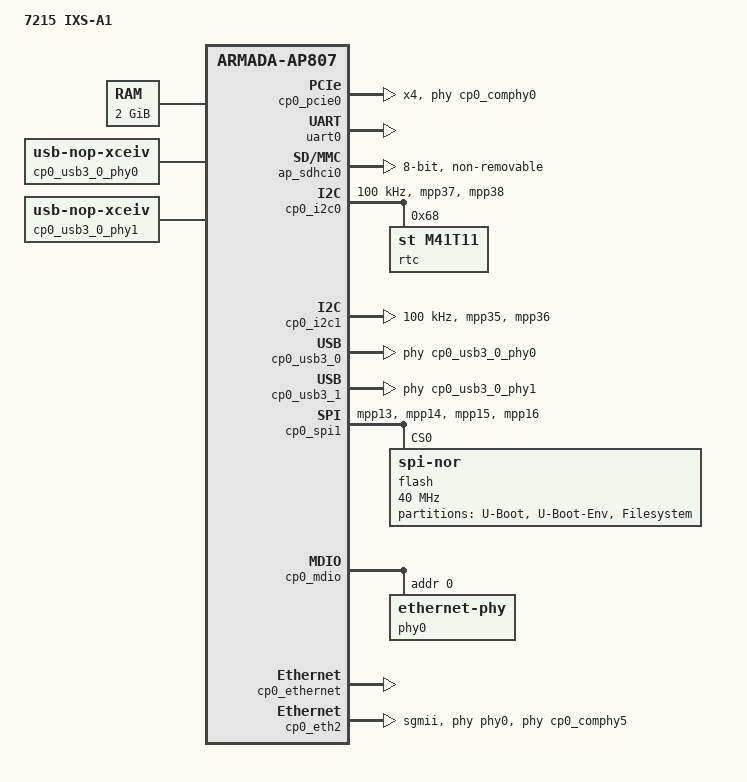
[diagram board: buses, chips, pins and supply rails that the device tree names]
// SPDX-License-Identifier: GPL-2.0+
/*
 * Copyright (C) 2024 Nokia
 * Copyright (C) 2020 Marvell International Ltd.
 */

#include "cn9130.dtsi" /* include SoC device tree */

#include <dt-bindings/gpio/gpio.h>

/ {
	#address-cells = <0x02>;
	#size-cells = <0x02>;
	model = "7215 IXS-A1";
	compatible = "marvell,cn9130\0marvell,armada-ap807-quad\0marvell,armada-ap807";

	aliases {
		i2c0 = &cp0_i2c0;
		ethernet0 = &cp0_eth0;
		ethernet1 = &cp0_eth1;
		ethernet2 = &cp0_eth2;
		gpio1 = &cp0_gpio1;
		gpio2 = &cp0_gpio2;
	};

	memory@0 {
		device_type = "memory";
		reg = <0x0 0x0 0x0 0x80000000>;
	};

	reserved-memory {
		#address-cells = <0x02>;
		#size-cells = <0x02>;
		ranges;

		/* keep psci-area: 04000000 size 0x00200000 */
		/* keep       tee: 04400000 size 0x01000000 */
		buf1: buffer@6000000 {
			compatible = "shared-dma-pool";
			reg = <0x0 0x06000000 0x0 0x02000000>;
			no-map;
		};
	};

	mv_dma {
		compatible = "marvell,mv_dma";
		memory-region = <&buf1>;
		status = "okay";
	};

	cp0_usb3_0_phy0: cp0_usb3_phy0 {
		compatible = "usb-nop-xceiv";
	};

	cp0_usb3_0_phy1: cp0_usb3_phy1 {
		compatible = "usb-nop-xceiv";
	};
};

&cp0_syscon0 {
	cp0_pinctrl: pinctrl {
		compatible = "marvell,cp115-standalone-pinctrl";

		cp0_i2c0_pins: cp0-i2c-pins-0 {
			marvell,pins = "mpp37", "mpp38";
			marvell,function = "i2c0";
		};
		cp0_i2c1_pins: cp0-i2c-pins-1 {
			marvell,pins = "mpp35", "mpp36";
			marvell,function = "i2c1";
		};
		cp0_spi0_pins: cp0-spi-pins-0 {
			marvell,pins = "mpp13", "mpp14", "mpp15", "mpp16";
			marvell,function = "spi1";
		};
	};
};

&cp0_gpio1 {
	status = "okay";
};

&cp0_gpio2 {
	status = "okay";
};

&cp0_pcie0 {
	status = "okay";
	num-lanes = <4>;
	num-viewport = <8>;
	/* Generic PHY, providing serdes lanes */
	phys = <&cp0_comphy0 0
		&cp0_comphy1 0
		&cp0_comphy2 0
		&cp0_comphy3 0>;
	iommu-map =
		<0x0   &smmu 0x480 0x20>,
		<0x100 &smmu 0x4a0 0x20>,
		<0x200 &smmu 0x4c0 0x20>;
	iommu-map-mask = <0x031f>;
};

&uart0 {
	status = "okay";
};

/* on-board eMMC U6 */
&ap_sdhci0 {
	pinctrl-names = "default";
	bus-width = <8>;
	status = "okay";
	non-removable;
	mmc-ddr-1_8v;
	mmc-hs200-1_8v;
};

/*Delete nodes that are not available*/
/delete-node/ &cp0_rtc;
/delete-node/ &cp0_sdhci0;
/delete-node/ &cp0_crypto;

&cp0_i2c0 {
	pinctrl-names = "default";
	pinctrl-0 = <&cp0_i2c0_pins>;
	status = "okay";
	clock-frequency = <100000>;
	rtc@68 {
		compatible = "st,m41t11";
		reg = <0x68>;
	};
};

&cp0_i2c1 {
	pinctrl-names = "default";
	pinctrl-0 = <&cp0_i2c1_pins>;
	clock-frequency = <100000>;
	status = "okay";
};

&cp0_usb3_0 {
	status = "okay";
	usb-phy = <&cp0_usb3_0_phy0>;
	phy-names = "usb";
};

&cp0_usb3_1 {
	status = "okay";
	usb-phy = <&cp0_usb3_0_phy1>;
	phy-names = "usb";
};

&cp0_spi1 {
	pinctrl-names = "default";
	pinctrl-0 = <&cp0_spi0_pins>;
	reg = <0x700680 0x50>,		/* control */
	      <0x2000000 0x1000000>;	/* CS0 */
	status = "okay";

	flash@0 {
		#address-cells = <0x1>;
		#size-cells = <0x1>;
		compatible = "jedec,spi-nor";
		reg = <0x0>;
		/* On-board MUX does not allow higher frequencies */
		spi-max-frequency = <40000000>;

		partitions {
			compatible = "fixed-partitions";
			#address-cells = <1>;
			#size-cells = <1>;

			partition@0 {
				label = "U-Boot";
				reg = <0x0 0x2f0000>;
			};

			partition@1 {
				label = "U-Boot-Env";
				reg = <0x2f0000 0x10000>;
			};

			partition@2{
				label = "Filesystem";
				reg = <0x300000 0xd00000>;
			};
		};
	};
};

&cp0_mdio {
	status = "okay";
	phy0: ethernet-phy@0 {
		reg = <0>;
		/* Management port LED blink activity*/
		marvell,reg-init = <0x03 0x10 0x0 0x1140>;
	};
};

&cp0_xmdio {
	status = "disabled";
};

&cp0_ethernet {
	status = "okay";
};

&cp0_eth0 {
	status = "disabled";
};

&cp0_eth1 {
	status = "disabled";
};

&cp0_eth2 {
	/* This port uses "sgmii" phy-mode */
	status = "okay";
	phy = <&phy0>;
	phys = <&cp0_comphy5 2>;
	phy-mode = "sgmii";
};
